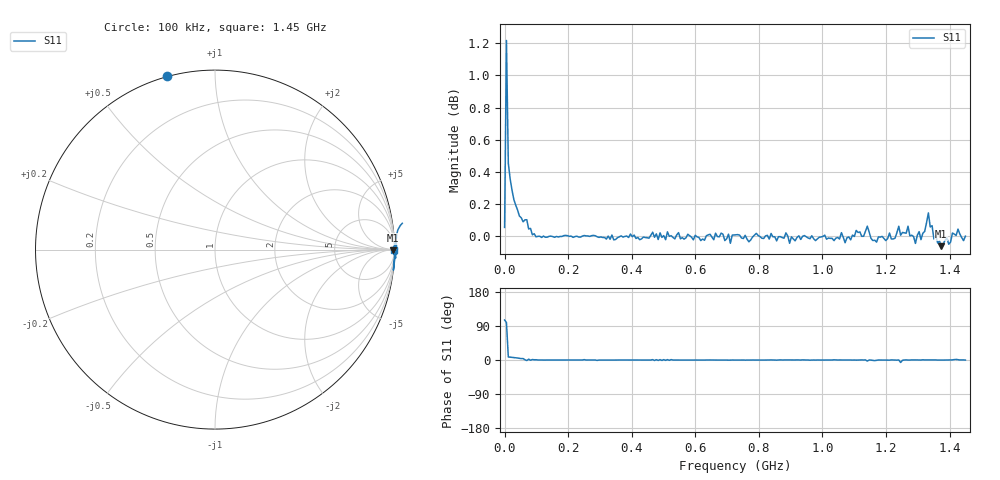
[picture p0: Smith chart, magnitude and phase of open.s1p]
! Created with skrf 1.11.0 (http://scikit-rf.org).
# Hz S RI R 50.0
!freq ReS11 ImS11
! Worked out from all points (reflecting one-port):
!   250 points, 100 kHz to 1.45 GHz, reference 50 ohm
!   lowest |S11| = -0.1 dB at 1.374 GHz (marker M1), VSWR 282.18, Z = 1.09e+04 - j5.89e+03 ohm
!   phase of S11 starts at 106 deg and turns -106 deg over the sweep
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100000  -0.2694 0.9696
5922891  -0.1786 1.137
1.174578e7  1.044 0.1466
5.832891e7  1.008 0.0658
6.997469e7  1.012 -0.0264
7.579758e7  1.004 0.039
8.162047e7  1.006 -0.0111
8.744336e7  1.001 0.0202
1.864325e8  1 0.00035
3.669421e8  1 -0.00033
4.950457e8  0.999 -0.0195
5.241602e8  1 0.0183
5.474518e8  1.003 -0.00231
7.279614e8  1.001 -0.00356
9.08471e8  0.9981 0.00443
1.088981e9  0.9975 0.000632
1.135564e9  1.004 0.00493
1.141387e9  1.006 -0.0478
1.14721e9  1.003 0.00182
1.164678e9  0.9968 -0.0275
1.176324e9  0.9995 -0.000247
1.240376e9  1.007 0.00115
1.246199e9  0.9941 -0.1149
1.252022e9  1.003 -0.011
1.26949e9  1.007 -0.00253
1.374302e9  0.9929 -0.00379
1.420885e9  1 0.0265
1.45e9  1 -0.00265
